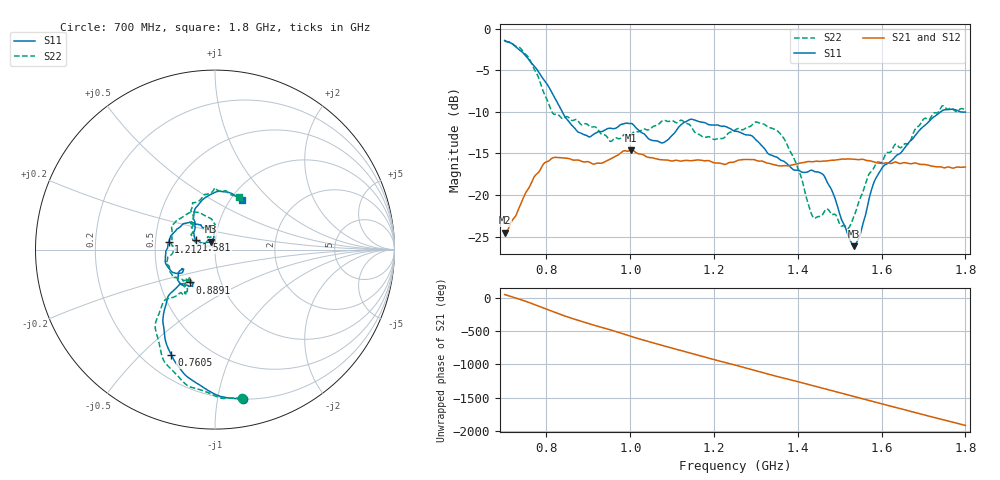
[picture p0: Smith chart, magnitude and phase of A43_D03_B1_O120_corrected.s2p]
! Created with skrf 1.9.0 (http://scikit-rf.org).
# Hz S RI R 50.0
!freq ReS11 ImS11 ReS21 ImS21 ReS12 ImS12 ReS22 ImS22
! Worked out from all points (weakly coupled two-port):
!   1601 points, 700 MHz to 1.8 GHz, reference 50 ohm
!   highest |S21| = -14.62 dB at 1.002 GHz (marker M1); lowest = -24.5 dB at 701.4 MHz (marker M2)
!   lowest |S11| = -26.1 dB at 1.535 GHz (marker M3), VSWR 1.10, Z = 47.5 + j4.15 ohm
!   |S11| at or under -10 dB: 837.6 MHz to 1.741 GHz (903.2 MHz wide, 70.1 % of centre); 1.788 GHz to end of sweep
!   |S22| runs from -24.0 to -1.5 dB; largest |S21 - S12| = 0.0034
!   S11 on the Smith chart (normalised r, x): 700 MHz: 0.20, -1.19; 760.5 MHz: 0.31, -0.62; 889.1 MHz: 0.71, -0.27; 1.212 GHz: 0.59, +0.06; 1.581 GHz: 0.81, +0.09; 1.8 GHz: 1.12, +0.69
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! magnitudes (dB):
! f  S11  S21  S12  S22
! 700 MHz  -1.4  -24.5  -24.3  -1.5
! 701.4 MHz  -1.5  -24.5  -24.2  -1.5
! 760.5 MHz  -3.9  -18.9  -18.8  -3.8
! 814.8 MHz  -7.9  -15.5  -15.6  -10.2
! 883.6 MHz  -12.6  -15.9  -15.8  -11.6
! 889.1 MHz  -12.7  -16.0  -15.9  -11.5
! 953 MHz  -12.0  -15.7  -15.7  -13.6
! 1.002 GHz  -11.4  -14.6  -14.7  -12.7
! 1.067 GHz  -13.6  -15.7  -15.6  -11.5
! 1.143 GHz  -10.9  -15.9  -15.9  -11.6
! 1.212 GHz  -11.6  -16.2  -16.1  -13.2
! 1.25 GHz  -12.3  -16.0  -15.9  -12.2
! 1.357 GHz  -15.7  -16.5  -16.4  -12.5
! 1.396 GHz  -17.0  -16.3  -16.3  -16.2
! 1.434 GHz  -17.0  -16.0  -16.0  -22.4
! 1.464 GHz  -17.8  -15.9  -15.9  -21.9
! 1.518 GHz  -24.6  -15.7  -15.7  -23.9
! 1.535 GHz  -26.1  -15.7  -15.7  -22.5
! 1.581 GHz  -18.6  -16.0  -16.0  -16.8
! 1.617 GHz  -16.1  -16.2  -16.1  -14.9
! 1.742 GHz  -9.9  -16.6  -16.6  -9.4
! 1.8 GHz  -10.0  -16.6  -16.6  -9.8
